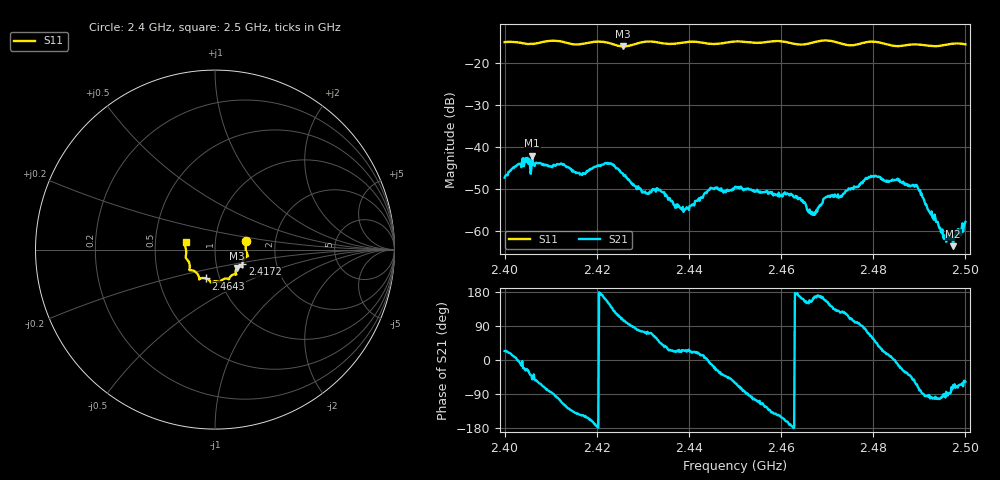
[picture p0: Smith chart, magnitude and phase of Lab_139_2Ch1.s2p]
# Hz S RI R 50
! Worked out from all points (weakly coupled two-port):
!   601 points, 2.4 GHz to 2.5 GHz, reference 50 ohm
!   highest |S21| = -42.02 dB at 2.406 GHz (marker M1); lowest = -63.6 dB at 2.4973 GHz (marker M2)
!   lowest |S11| = -15.9 dB at 2.4257 GHz (marker M3), VSWR 1.38, Z = 62.5 - j13.1 ohm
!   |S11| at or under -10 dB: start of sweep to end of sweep
!   S12 and S22 are empty: the file has one direction only
!   S11 on the Smith chart (normalised r, x): 2.4 GHz: 1.41, +0.14; 2.4172 GHz: 1.34, -0.22; 2.4643 GHz: 0.86, -0.28; 2.5 GHz: 0.72, +0.06
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2.4e9  0.1733 0.0487  0.00398 0.00174  0 0  0 0
2.404333e9  0.172 0.0221  0.00611 -0.0025  0 0  0 0
2.406e9  0.171 0.00318  0.00497 -0.00618  0 0  0 0
2.4125e9  0.1776 -0.039  -0.00246 -0.00577  0 0  0 0
2.416667e9  0.153 -0.0747  -0.004 -0.00263  0 0  0 0
2.417167e9  0.1522 -0.0805  -0.00402 -0.00264  0 0  0 0
2.422333e9  0.1499 -0.0949  -0.00582 0.00295  0 0  0 0
2.425667e9  0.1227 -0.1021  -0.00133 0.00469  0 0  0 0
2.430333e9  0.1183 -0.1374  0.000818 0.00279  0 0  0 0
2.433333e9  0.1129 -0.1374  0.00192 0.00247  0 0  0 0
2.438833e9  0.0801 -0.1588  0.00153 0.000729  0 0  0 0
2.444667e9  0.0583 -0.1613  0.00324 -0.000609  0 0  0 0
2.45e9  0.0288 -0.181  0.0017 -0.00292  0 0  0 0
2.464333e9  -0.0499 -0.1606  -0.00225 0.000654  0 0  0 0
2.466667e9  -0.076 -0.1593  -0.00153 0.000736  0 0  0 0
2.469667e9  -0.0886 -0.1661  -0.00232 0.000966  0 0  0 0
2.479e9  -0.1409 -0.1149  0.00148 0.00417  0 0  0 0
2.483333e9  -0.1407 -0.0899  0.00373 0.000938  0 0  0 0
2.489667e9  -0.1631 -0.0421  0.00107 -0.00312  0 0  0 0
2.495333e9  -0.1647 0.0132  -8.87e-05 -0.000804  0 0  0 0
2.497333e9  -0.1702 0.0291  0.000268 -0.000604  0 0  0 0
2.5e9  -0.1638 0.0427  0.000693 -0.00108  0 0  0 0
